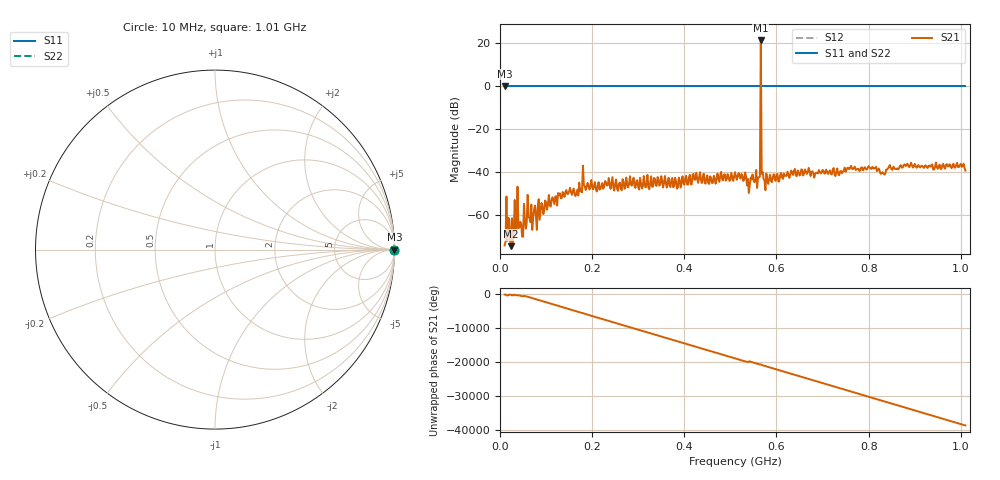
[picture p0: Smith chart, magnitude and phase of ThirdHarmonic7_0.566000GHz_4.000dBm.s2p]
! 8/17/2025 5:24:31 PM
! C:\ANRITSUVNA\TEMP\TEMP.S2P
! CHANNEL.1
! TR.MEASUREMENT
! RAW.DATA
! RF.CORRECTION.OFF
! AVERAGING.OFF
! IF.BANDWIDTH: 5KHZ
! SWEEPTYPE:  FREQ.SWEEP(Linear)
! Reference Plane Port Info
! PORT:  PORT1  PORT2
! DISTANCE:  0  m  0  m
! TIME:  0  s  0  s
! PHASE.OFFSET:  0  deg.  0  deg.
! LOSS:  0  dB  0  dB
! REF.LOSS:  0  dB  0  dB
! REF.FREQ:  0  Hz  0  Hz
! Power Info
! POWER:  -20  dBm  -20  dBm
! EFF.POWER:  -20  dBm  -20  dBm
! SOURCE.ATTEN:  0  dB  0  dB
! TEST.ATTEN:  0  dB  0  dB
# GHZ S RI R 50.0
! FREQ.GHZ  S11RE  S11IM  S21RE  S21IM  S12RE  S12IM  S22RE  S22IM
!; PortSelection: Port_12
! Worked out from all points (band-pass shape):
!   501 points, 10 MHz to 1.01 GHz, reference 50 ohm
!   highest |S21| = 21.12 dB at 566 MHz (marker M1); lowest = -74.4 dB at 24 MHz (marker M2)
!   |S21| within 3 dB of the highest: 565.9051 MHz to 566.0969 MHz (191.8 kHz wide, 0.0339 % of centre)
!   lowest |S11| = 0.0 dB at 10 MHz (marker M3)
!   |S11| at or under -10 dB: nowhere
!   |S22| runs from 0.0 to 0.0 dB; largest |S21 - S12| = 12
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0.01  1 0  -0.000168 -0.000107  1 0  1 0
0.018  1 0  0.000481 0.000723  1 0  1 0
0.02  1 0  -0.000716 0.000416  1 0  1 0
0.024  1 0  -8.48e-05 0.000171  1 0  1 0
0.032  1 0  -0.00149 0.0017  1 0  1 0
0.034  1 0  0.000409 1.92e-05  1 0  1 0
0.042  1 0  0.000434 -0.000272  1 0  1 0
0.046  1 0  -0.000388 0.00049  1 0  1 0
0.056  1 0  0.000158 0.000461  1 0  1 0
0.068  1 0  0.00168 -0.000545  1 0  1 0
0.178  1 0  -0.0034 -0.000103  1 0  1 0
0.344  1 0  0.00614 -0.00279  1 0  1 0
0.51  1 0  -0.00994 0.000871  1 0  1 0
0.54  1 0  0.00194 -0.00263  1 0  1 0
0.56  1 0  0.00697 -0.00283  1 0  1 0
0.562  1 0  0.000828 -0.0075  1 0  1 0
0.566  1 0  -10.94 -3.119  1 0  1 0
0.57  1 0  0.00107 -0.01  1 0  1 0
0.572  1 0  -0.00662 -0.00193  1 0  1 0
0.678  1 0  0.00222 -0.0102  1 0  1 0
0.844  1 0  -0.000918 0.0132  1 0  1 0
1.01  1 0  -0.00468 -0.00979  1 0  1 0
